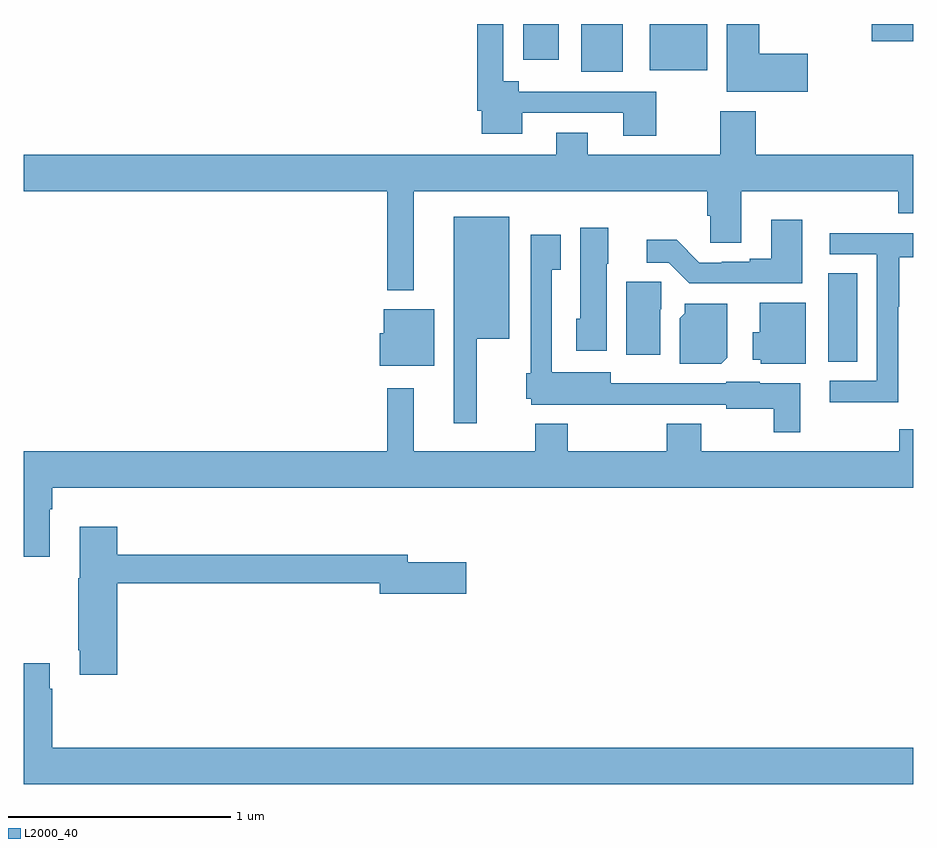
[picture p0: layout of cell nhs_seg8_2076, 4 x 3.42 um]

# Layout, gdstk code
import gdstk
lib = gdstk.Library(unit=1e-6, precision=1e-09)
def R(c, l, rs):  # rectangles x0, y0, x1, y1
    for r in rs: c.add(gdstk.rectangle(r[:2], r[2:], *l))
def P(c, l, *ps):  # polygons
    for p in ps: c.add(gdstk.Polygon(p, *l))
L2000_40 = (2000, 40)

nhs_seg8_2076 = lib.new_cell('nhs_seg8_2076')
R(nhs_seg8_2076, L2000_40, [(244.616,1134.382,244.747,1134.779), (243.506,1135.685,243.694,1135.9), (243.815,1135.691,244.072,1135.9), (243.245,1135.74,243.406,1135.9), (244.812,1135.823,245,1135.9)])
P(nhs_seg8_2076, L2000_40, [(243.843,1135.596),(243.226,1135.596),(243.226,1135.642),(243.156,1135.642),(243.156,1135.9),(243.04,1135.9),(243.04,1135.51),(243.059,1135.51),(243.059,1135.406),(243.241,1135.406),(243.241,1135.5),(243.695,1135.5),(243.695,1135.398),(243.843,1135.398)],
  [(244.525,1135.766),(244.307,1135.766),(244.307,1135.9),(244.16,1135.9),(244.16,1135.595),(244.525,1135.595)],
  [(242.755,1135.148),(244.073,1135.148),(244.073,1135.038),(244.086,1135.038),(244.086,1134.916),(244.225,1134.916),(244.225,1135.148),(244.931,1135.148),(244.931,1135.049),(245,1135.049),(245,1135.312),(244.292,1135.312),(244.292,1135.507),(244.132,1135.507),(244.132,1135.312),(243.535,1135.312),(243.535,1135.411),(243.395,1135.411),(243.395,1135.312),(241,1135.312),(241,1135.148),(242.634,1135.148),(242.634,1134.704),(242.755,1134.704)],
  [(243.037,1134.485),(243.184,1134.485),(243.184,1135.033),(242.933,1135.033),(242.933,1134.105),(243.037,1134.105)],
  [(244.501,1135.021),(244.361,1135.021),(244.361,1134.844),(244.265,1134.844),(244.265,1134.831),(244.138,1134.831),(244.138,1134.828),(244.038,1134.828),(243.936,1134.931),(243.801,1134.931),(243.801,1134.828),(243.9,1134.828),(243.993,1134.735),(244.501,1134.735)],
  [(243.622,1134.822),(243.628,1134.822),(243.628,1134.985),(243.503,1134.985),(243.503,1134.576),(243.485,1134.576),(243.485,1134.432),(243.622,1134.432)],
  [(244.932,1134.628),(244.935,1134.628),(244.935,1134.852),(245,1134.852),(245,1134.96),(244.623,1134.96),(244.623,1134.864),(244.836,1134.864),(244.836,1134.297),(244.623,1134.297),(244.623,1134.199),(244.932,1134.199)],
  [(244.492,1134.286),(244.308,1134.286),(244.308,1134.292),(244.158,1134.292),(244.158,1134.285),(243.64,1134.285),(243.64,1134.334),(243.375,1134.334),(243.375,1134.796),(243.415,1134.796),(243.415,1134.952),(243.279,1134.952),(243.279,1134.33),(243.26,1134.33),(243.26,1134.216),(243.282,1134.216),(243.282,1134.188),(243.636,1134.188),(243.636,1134.189),(244.158,1134.189),(244.158,1134.17),(244.371,1134.17),(244.371,1134.065),(244.492,1134.065)],
  [(243.862,1134.618),(243.866,1134.618),(243.866,1134.741),(243.71,1134.741),(243.71,1134.414),(243.862,1134.414)],
  [(244.516,1134.646),(244.31,1134.646),(244.31,1134.514),(244.277,1134.514),(244.277,1134.392),(244.314,1134.392),(244.314,1134.374),(244.516,1134.374)],
  [(244.162,1134.4),(244.162,1134.643),(243.972,1134.643),(243.972,1134.6),(243.95,1134.578),(243.95,1134.374),(244.136,1134.374)],
  [(242.845,1134.619),(242.618,1134.619),(242.618,1134.51),(242.6,1134.51),(242.6,1134.365),(242.845,1134.365)],
  [(241.117,1133.72),(241.13,1133.72),(241.13,1133.816),(245,1133.816),(245,1134.079),(244.936,1134.079),(244.936,1133.98),(244.047,1133.98),(244.047,1134.104),(243.892,1134.104),(243.892,1133.98),(243.447,1133.98),(243.447,1134.103),(243.299,1134.103),(243.299,1133.98),(242.755,1133.98),(242.755,1134.262),(242.634,1134.262),(242.634,1133.98),(241,1133.98),(241,1133.505),(241.117,1133.505)],
  [(241.421,1133.386),(242.6,1133.386),(242.6,1133.339),(242.989,1133.339),(242.989,1133.481),(242.728,1133.481),(242.728,1133.515),(241.421,1133.515),(241.421,1133.641),(241.253,1133.641),(241.253,1133.409),(241.246,1133.409),(241.246,1133.086),(241.253,1133.086),(241.253,1132.974),(241.421,1132.974)],
  [(245,1132.648),(241.13,1132.648),(241.13,1132.913),(241.117,1132.913),(241.117,1133.026),(241,1133.026),(241,1132.484),(245,1132.484)])

lib.write_gds('nhs_seg8_2076.gds')
